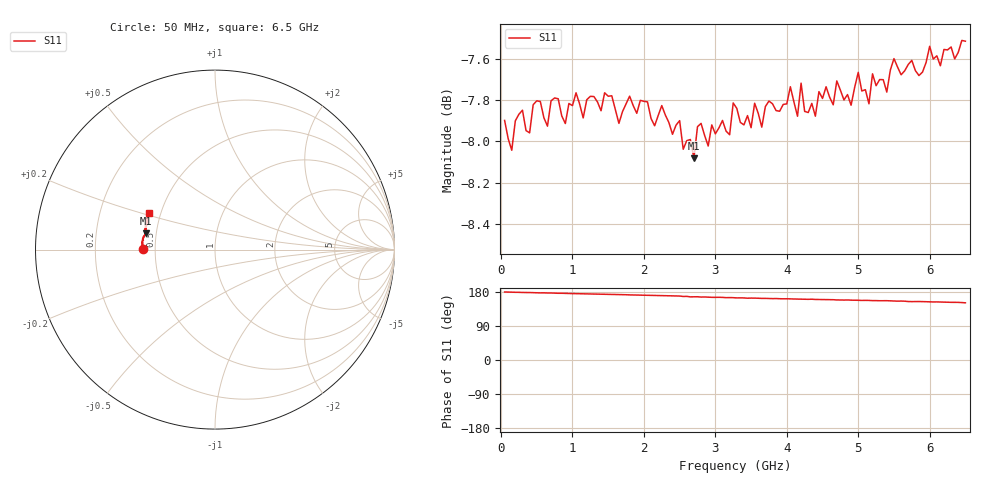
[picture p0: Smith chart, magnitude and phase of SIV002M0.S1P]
! (c) 1999  Infineon Technologies AG, Munich
! Infineon Technologies  Discrete & RF Semiconductors
! BAT24-02LS
! Si Schottky Diode in TSSLP-2
! IF = 2 mA
! S-Parameters:  July  2007
# GHz  S  MA  R  50
!  f  S11
! GHz  MAG  ANG
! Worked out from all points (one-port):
!   130 points, 50 MHz to 6.5 GHz, reference 50 ohm
!   lowest |S11| = -8.1 dB at 2.7 GHz (marker M1), VSWR 2.30, Z = 22 + j4.68 ohm
!   |S11| at or under -10 dB: nowhere
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0.05  0.4028 179.5
0.15  0.3962 178.7
0.2  0.4027 178.7
0.4  0.4 178.0
0.5  0.4073 177.4
0.9  0.4021 175.7
1.05  0.4091 174.9
1.15  0.4034 174.6
1.7  0.4048 172.3
2.5  0.4028 168.8
2.7  0.3944 166.8
2.75  0.4014 166.9
2.9  0.3971 165.8
3.3  0.4056 163.8
4.1  0.407 161.0
4.15  0.4038 160.8
4.2  0.4113 160.5
4.4  0.4038 159.8
4.7  0.4118 158.5
4.9  0.4063 157.9
5  0.4138 157.6
5.15  0.4066 157.2
5.2  0.4135 156.7
5.4  0.4093 156.5
5.5  0.417 155.7
5.7  0.4156 154.3
6.4  0.4185 152.1
6.5  0.4211 150.9
